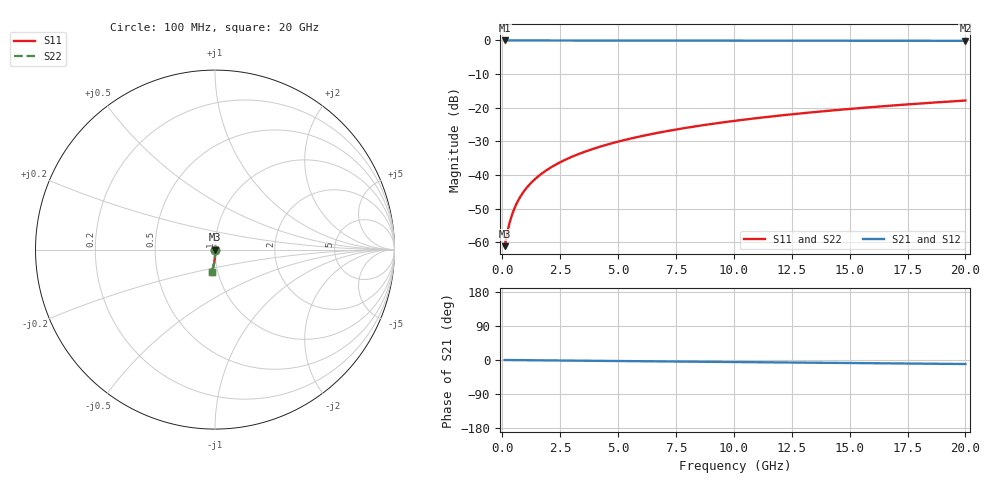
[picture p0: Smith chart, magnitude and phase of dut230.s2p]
! Touchstone file exported from HFSS 2026.1.0
!  File:  C:/ffzhzh/LocalFiles/Ansys_Project_Files/temp_train_TSV_230_1782992389_42984.aedt
!  Generated:  07:41:08 PM Jul  2, 2026
!  Design:  TSV
!  Project:  temp_train_TSV_230_1782992389_42984
! Variables:
!  h_bsmrdl = 2um
!  h_ox = 20um
!  h_rdl = 5um
!  h_sub = 79.98um
!  h_tmrdl = 5um
!  h_tsv = 79.98um
!  h_via = 3um
!  l_bsmrdl = 300um
!  l_sub = 407.54um
!  l_tmrdl = 200um
!  m_sub = 200um
!  pitch = 8.57um
!  r_tsv = 3.77um
!  s_tmrdl = 10um
!  w_bsmrdl = 18um
!  w_sub = 500um
!  w_tmrdl = 12um
!  x_tsv_center1 = 206um
!  x_tsv_center2 = 524um
!  x_tsv_center3 = 736um
!  x_tsv_center4 = 1054um
!  x_tsv_center5 = 1266um
!  x_tsv_center6 = 1584um
# GHz S MA R 50.000000
! Terminal data exported
! Port[1] = TSV1_1_T1
! Port[2] = TSV1_1_T2
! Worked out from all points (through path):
!   200 points, 100 MHz to 20 GHz, reference 50 ohm
!   highest |S21| = -0.01 dB at 100 MHz (marker M1); lowest = -0.1 dB at 20 GHz (marker M2)
!   group delay of S21, straight-line fit = 1.46 ps
!   lowest |S11| = -61.2 dB at 100 MHz (marker M3), VSWR 1.00, Z = 50.1 - j0.054 ohm
!   |S11| at or under -10 dB: start of sweep to end of sweep
!   |S22| runs from -61.2 to -17.9 dB; largest |S21 - S12| = 7.9e-15
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0.1  0.0008718 -38.2  0.9993 -0.1  0.9993 -0.1  0.0008718 -38.2
! Gamma 0 0 0 0
! Port Impedance 50 0 50 0
0.2  0.001319 -56.5  0.9993 -0.1  0.9993 -0.1  0.001319 -56.5
0.3  0.001856 -65.2  0.9992 -0.2  0.9992 -0.2  0.001856 -65.2
0.4  0.002435 -70.2  0.9992 -0.2  0.9992 -0.2  0.002435 -70.2
0.5  0.003033 -73.5  0.9991 -0.3  0.9991 -0.3  0.003033 -73.5
0.6  0.003641 -75.8  0.9991 -0.3  0.9991 -0.3  0.003641 -75.8
0.8  0.00487 -79.0  0.999 -0.4  0.999 -0.4  0.00487 -79.0
1.1  0.006726 -81.9  0.999 -0.6  0.999 -0.6  0.006726 -81.9
1.3  0.007965 -83.1  0.9989 -0.7  0.9989 -0.7  0.007965 -83.1
1.5  0.009206 -84.0  0.9989 -0.8  0.9989 -0.8  0.009206 -84.0
1.8  0.01107 -85.0  0.9988 -1.0  0.9988 -1.0  0.01107 -85.0
2.1  0.01294 -85.8  0.9987 -1.2  0.9987 -1.2  0.01294 -85.8
2.7  0.01669 -86.9  0.9985 -1.5  0.9985 -1.5  0.01669 -86.9
3.5  0.02172 -87.9  0.9982 -1.9  0.9982 -1.9  0.02172 -87.9
4.2  0.02616 -88.5  0.9979 -2.3  0.9979 -2.3  0.02616 -88.5
5  0.03126 -89.2  0.9976 -2.7  0.9976 -2.7  0.03126 -89.2
6.8  0.04283 -90.5  0.9967 -3.7  0.9967 -3.7  0.04283 -90.5
8.3  0.05252 -91.5  0.9959 -4.5  0.9959 -4.5  0.05252 -91.5
10.1  0.06418 -92.7  0.9949 -5.4  0.9949 -5.4  0.06418 -92.7
13.4  0.08552 -94.7  0.9927 -7.1  0.9927 -7.1  0.08552 -94.7
16.7  0.1068 -96.7  0.9901 -8.9  0.9901 -8.9  0.1068 -96.7
20  0.1278 -98.5  0.9872 -10.6  0.9872 -10.6  0.1278 -98.5
